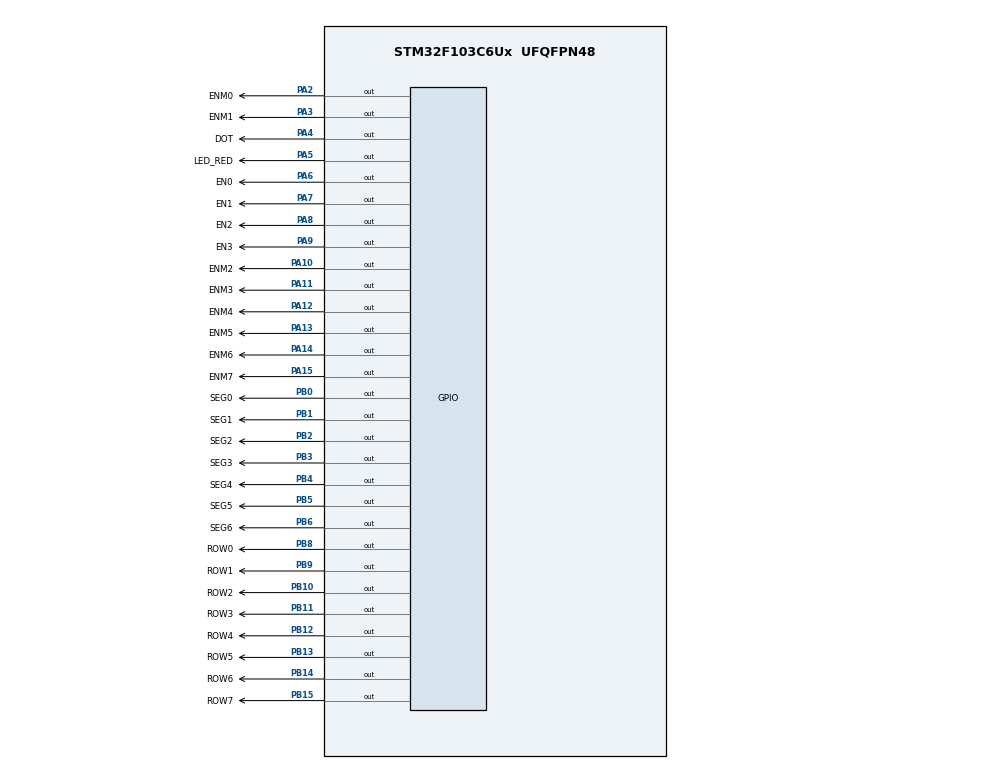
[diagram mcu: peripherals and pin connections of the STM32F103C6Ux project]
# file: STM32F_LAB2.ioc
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Mcu.Family=STM32F1
Mcu.Name=STM32F103C6Ux
Mcu.Package=UFQFPN48
NVIC.PriorityGroup=NVIC_PRIORITYGROUP_4
NVIC.TIM2_IRQn=true\:0\:0\:false\:false\:true\:true\:true
PA10.GPIO_Label=ENM2
PA10.Signal=GPIO_Output
PA11.GPIO_Label=ENM3
PA11.Signal=GPIO_Output
PA12.GPIO_Label=ENM4
PA12.Signal=GPIO_Output
PA13.GPIO_Label=ENM5
PA13.Signal=GPIO_Output
PA14.GPIO_Label=ENM6
PA14.Signal=GPIO_Output
PA15.GPIO_Label=ENM7
PA15.Signal=GPIO_Output
PA2.GPIO_Label=ENM0
PA2.Signal=GPIO_Output
PA3.GPIO_Label=ENM1
PA3.Signal=GPIO_Output
PA4.GPIO_Label=DOT
PA4.Signal=GPIO_Output
PA5.GPIO_Label=LED_RED
PA5.Signal=GPIO_Output
PA6.GPIO_Label=EN0
PA6.Signal=GPIO_Output
PA7.GPIO_Label=EN1
PA7.Signal=GPIO_Output
PA8.GPIO_Label=EN2
PA8.Signal=GPIO_Output
PA9.GPIO_Label=EN3
PA9.Signal=GPIO_Output
PB0.GPIO_Label=SEG0
PB0.Signal=GPIO_Output
PB1.GPIO_Label=SEG1
PB1.Signal=GPIO_Output
PB10.GPIO_Label=ROW2
PB10.Signal=GPIO_Output
PB11.GPIO_Label=ROW3
PB11.Signal=GPIO_Output
PB12.GPIO_Label=ROW4
PB12.Signal=GPIO_Output
PB13.GPIO_Label=ROW5
PB13.Signal=GPIO_Output
PB14.GPIO_Label=ROW6
PB14.Signal=GPIO_Output
PB15.GPIO_Label=ROW7
PB15.Signal=GPIO_Output
PB2.GPIO_Label=SEG2
PB2.Signal=GPIO_Output
PB3.GPIO_Label=SEG3
PB3.Signal=GPIO_Output
PB4.GPIO_Label=SEG4
PB4.Signal=GPIO_Output
PB5.GPIO_Label=SEG5
PB5.Signal=GPIO_Output
PB6.GPIO_Label=SEG6
PB6.Signal=GPIO_Output
PB8.GPIO_Label=ROW0
PB8.Signal=GPIO_Output
PB9.GPIO_Label=ROW1
PB9.Signal=GPIO_Output
ProjectManager.HeapSize=0x200
ProjectManager.StackSize=0x400
ProjectManager.TargetToolchain=STM32CubeIDE
RCC.APB1Freq_Value=8000000
RCC.APB2Freq_Value=8000000
TIM2.Period=9
TIM2.Prescaler=7999
VP_SYS_VS_ND.Mode=No_Debug
VP_TIM2_VS_ClockSourceINT.Mode=Internal
board=custom

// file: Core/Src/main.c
/* USER CODE BEGIN Header */
/**
  ******************************************************************************
  * @file           : main.c
  * @brief          : Main program body
  ******************************************************************************
  * @attention
  *
  * <h2><center>&copy; Copyright (c) 2024 STMicroelectronics.
  * All rights reserved.</center></h2>
  *
  * This software component is licensed by ST under BSD 3-Clause license,
  * the "License"; You may not use this file except in compliance with the
  * License. You may obtain a copy of the License at:
  *                        opensource.org/licenses/BSD-3-Clause
  *
  ******************************************************************************
  */
/* USER CODE END Header */
#include "main.h"

/* USER CODE BEGIN Includes */
#include "Ex8.h"
/* USER CODE END Includes */

TIM_HandleTypeDef htim2;

void SystemClock_Config(void);
static void MX_GPIO_Init(void);
static void MX_TIM2_Init(void);

int main(void)
{
  /* USER CODE BEGIN 1 */
 init_exercise8();
  /* USER CODE END 1 */

  /* MCU Configuration--------------------------------------------------------*/

  /* Reset of all peripherals, Initializes the Flash interface and the Systick. */
  HAL_Init();

  /* Configure the system clock */
  SystemClock_Config();

  /* Initialize all configured peripherals */
  MX_GPIO_Init();
  MX_TIM2_Init();
  /* USER CODE BEGIN 2 */
  HAL_TIM_Base_Start_IT(&htim2);
  /* USER CODE END 2 */

  /* Infinite loop */
  /* USER CODE BEGIN WHILE */

  setTimer8(25);
  // tat het led truoc khi chay
  HAL_GPIO_WritePin(EN0_GPIO_Port, EN0_Pin, GPIO_PIN_SET);
  HAL_GPIO_WritePin(EN1_GPIO_Port, EN1_Pin, GPIO_PIN_SET);
  HAL_GPIO_WritePin(EN2_GPIO_Port, EN2_Pin, GPIO_PIN_SET);
  HAL_GPIO_WritePin(EN3_GPIO_Port, EN3_Pin, GPIO_PIN_SET);
  HAL_GPIO_WritePin(DOT_GPIO_Port, DOT_Pin, GPIO_PIN_SET);
  HAL_GPIO_WritePin(LED_RED_GPIO_Port, LED_RED_Pin, GPIO_PIN_SET);
  int count = 4;
   while (1)
   {
 	if (timer8_flag == 1){
 		exercise8_run();
 		count --;
 		if(count == 0){
 		HAL_GPIO_TogglePin(DOT_GPIO_Port, DOT_Pin);
 		control_time();
 		count = 4;
 	 }
 		setTimer8(25);
 	}

    /* USER CODE END WHILE */

  }
}

void SystemClock_Config(void)
{
  RCC_OscInitTypeDef RCC_OscInitStruct = {0};
  RCC_ClkInitTypeDef RCC_ClkInitStruct = {0};

  /** Initializes the RCC Oscillators according to the specified parameters
  * in the RCC_OscInitTypeDef structure.
  */
  RCC_OscInitStruct.OscillatorType = RCC_OSCILLATORTYPE_HSI;
  RCC_OscInitStruct.HSIState = RCC_HSI_ON;
  RCC_OscInitStruct.HSICalibrationValue = RCC_HSICALIBRATION_DEFAULT;
  RCC_OscInitStruct.PLL.PLLState = RCC_PLL_NONE;
  if (HAL_RCC_OscConfig(&RCC_OscInitStruct) != HAL_OK)
  {
    Error_Handler();
  }
  /** Initializes the CPU, AHB and APB buses clocks
  */
  RCC_ClkInitStruct.ClockType = RCC_CLOCKTYPE_HCLK|RCC_CLOCKTYPE_SYSCLK
                              |RCC_CLOCKTYPE_PCLK1|RCC_CLOCKTYPE_PCLK2;
  RCC_ClkInitStruct.SYSCLKSource = RCC_SYSCLKSOURCE_HSI;
  RCC_ClkInitStruct.AHBCLKDivider = RCC_SYSCLK_DIV1;
  RCC_ClkInitStruct.APB1CLKDivider = RCC_HCLK_DIV1;
  RCC_ClkInitStruct.APB2CLKDivider = RCC_HCLK_DIV1;

  if (HAL_RCC_ClockConfig(&RCC_ClkInitStruct, FLASH_LATENCY_0) != HAL_OK)
  {
    Error_Handler();
  }
}

static void MX_TIM2_Init(void)
{

  TIM_ClockConfigTypeDef sClockSourceConfig = {0};
  TIM_MasterConfigTypeDef sMasterConfig = {0};

  htim2.Instance = TIM2;
  htim2.Init.Prescaler = 7999;
  htim2.Init.CounterMode = TIM_COUNTERMODE_UP;
  htim2.Init.Period = 9;
  htim2.Init.ClockDivision = TIM_CLOCKDIVISION_DIV1;
  htim2.Init.AutoReloadPreload = TIM_AUTORELOAD_PRELOAD_DISABLE;
  if (HAL_TIM_Base_Init(&htim2) != HAL_OK)
  {
    Error_Handler();
  }
  sClockSourceConfig.ClockSource = TIM_CLOCKSOURCE_INTERNAL;
  if (HAL_TIM_ConfigClockSource(&htim2, &sClockSourceConfig) != HAL_OK)
  {
    Error_Handler();
  }
  sMasterConfig.MasterOutputTrigger = TIM_TRGO_RESET;
  sMasterConfig.MasterSlaveMode = TIM_MASTERSLAVEMODE_DISABLE;
  if (HAL_TIMEx_MasterConfigSynchronization(&htim2, &sMasterConfig) != HAL_OK)
  {
    Error_Handler();
  }

}

static void MX_GPIO_Init(void)
{
  GPIO_InitTypeDef GPIO_InitStruct = {0};

  /* GPIO Ports Clock Enable */
  __HAL_RCC_GPIOA_CLK_ENABLE();
  __HAL_RCC_GPIOB_CLK_ENABLE();

  /*Configure GPIO pin Output Level */
  HAL_GPIO_WritePin(GPIOA, DOT_Pin|LED_RED_Pin|EN0_Pin|EN1_Pin
                          |EN2_Pin|EN3_Pin, GPIO_PIN_RESET);

  /*Configure GPIO pin Output Level */
  HAL_GPIO_WritePin(GPIOB, SEG0_Pin|SEG1_Pin|SEG2_Pin|SEG3_Pin
                          |SEG4_Pin|SEG5_Pin|SEG6_Pin, GPIO_PIN_RESET);

  /*Configure GPIO pins : DOT_Pin LED_RED_Pin EN0_Pin EN1_Pin
                           EN2_Pin EN3_Pin */
  GPIO_InitStruct.Pin = DOT_Pin|LED_RED_Pin|EN0_Pin|EN1_Pin
                          |EN2_Pin|EN3_Pin;
  GPIO_InitStruct.Mode = GPIO_MODE_OUTPUT_PP;
  GPIO_InitStruct.Pull = GPIO_NOPULL;
  GPIO_InitStruct.Speed = GPIO_SPEED_FREQ_LOW;
  HAL_GPIO_Init(GPIOA, &GPIO_InitStruct);

  /*Configure GPIO pins : SEG0_Pin SEG1_Pin SEG2_Pin SEG3_Pin
                           SEG4_Pin SEG5_Pin SEG6_Pin */
  GPIO_InitStruct.Pin = SEG0_Pin|SEG1_Pin|SEG2_Pin|SEG3_Pin
                          |SEG4_Pin|SEG5_Pin|SEG6_Pin;
  GPIO_InitStruct.Mode = GPIO_MODE_OUTPUT_PP;
  GPIO_InitStruct.Pull = GPIO_NOPULL;
  GPIO_InitStruct.Speed = GPIO_SPEED_FREQ_LOW;
  HAL_GPIO_Init(GPIOB, &GPIO_InitStruct);

}

/* USER CODE BEGIN 4 */
void HAL_TIM_PeriodElapsedCallback(TIM_HandleTypeDef *htim){
 timerRun8();
}
/* USER CODE END 4 */

void Error_Handler(void)
{
  __disable_irq();
  while (1)
  {
  }
}

/************************ (C) COPYRIGHT STMicroelectronics *****END OF FILE****/
